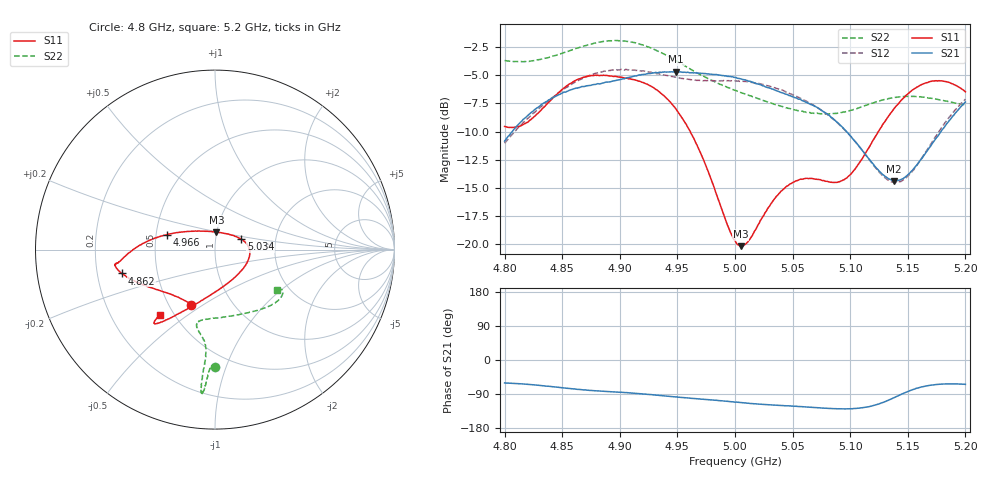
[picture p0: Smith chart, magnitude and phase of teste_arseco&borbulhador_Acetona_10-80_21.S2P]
! Network Analyzer HP8722D
! Hewlett-Packard
! Data name: Linha & Wilkinson
! Saver's name: Rodrigo Anjos
! Comments: Teste da utilização de aquisição
! continua pelo VNA HP8722D
! Time and date: 17/4/2025 14:32
!  Frequency  S11  S21  S12  S22
# HZ  S  MA R 50
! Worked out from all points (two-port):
!   401 points, 4.8 GHz to 5.2 GHz, reference 50 ohm
!   highest |S21| = -4.67 dB at 4.949 GHz (marker M1); lowest = -14.4 dB at 5.138 GHz (marker M2)
!   |S21| within 3 dB of the highest: 4.831 GHz to 5.068 GHz (236.7 MHz wide, 4.78 % of centre); 5.197161 GHz to end of sweep
!   lowest |S11| = -20.2 dB at 5.005 GHz (marker M3), VSWR 1.22, Z = 49.9 + j9.8 ohm
!   |S11| at or under -10 dB: 4.961 GHz to 5.124 GHz (163.3 MHz wide, 3.24 % of centre)
!   |S22| runs from -8.5 to -1.9 dB; largest |S21 - S12| = 0.88
!   S11 on the Smith chart (normalised r, x): 4.8 GHz: 0.65, -0.45; 4.862 GHz: 0.31, -0.11; 4.966 GHz: 0.57, +0.10; 5.034 GHz: 1.33, +0.16; 5.2 GHz: 0.42, -0.39
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4.8e9  0.3333 -113.2  0.2867 -60.6  0.2806 -174.9  0.6552 -90.0
4.819e9  0.3464 -133.2  0.3681 -64.0  0.3577 -173.5  0.6505 -91.6
4.862e9  0.5357 -165.6  0.4935 -76.9  0.5291 -176.8  0.7419 -93.8
4.867e9  0.5484 -167.5  0.5019 -78.6  0.5424 -177.7  0.7557 -93.9
4.9e9  0.5529 -172.0  0.538 -85.0  0.5956 175.6  0.8026 -95.2
4.934e9  0.4764 -178.1  0.5806 -93.4  0.5723 171.8  0.7174 -95.6
4.949e9  0.3969 174.7  0.5843 -97.4  0.5513 172.1  0.6531 -95.4
4.966e9  0.2815 162.9  0.5766 -101.9  0.5351 173.9  0.581 -95.0
5e9  0.1033 102.4  0.5509 -111.2  0.5322 176.1  0.4828 -99.1
5.005e9  0.09763 85.1  0.5431 -112.3  0.5297 176.2  0.4718 -100.5
5.013e9  0.1051 59.3  0.5297 -114.7  0.5245 175.8  0.4567 -102.1
5.034e9  0.1578 21.5  0.4853 -119.1  0.4967 174.9  0.4184 -103.8
5.05e9  0.1874 5.0  0.452 -121.8  0.4608 174.1  0.3989 -99.6
5.067e9  0.1955 -13.0  0.4154 -125.0  0.4173 173.7  0.3824 -91.0
5.087e9  0.1879 -45.0  0.3541 -128.5  0.3526 173.7  0.3809 -75.8
5.098e9  0.199 -67.8  0.3118 -128.8  0.3111 174.6  0.3901 -66.5
5.134e9  0.3747 -116.1  0.194 -105.1  0.1907 -158.0  0.4442 -42.9
5.138e9  0.3998 -118.5  0.1908 -99.6  0.188 -151.6  0.4479 -41.2
5.151e9  0.4697 -124.2  0.2052 -81.9  0.2025 -131.4  0.4537 -36.3
5.17e9  0.5288 -128.7  0.273 -66.5  0.2784 -112.6  0.4452 -31.9
5.184e9  0.5264 -130.0  0.3441 -63.1  0.3559 -107.2  0.4319 -30.9
5.2e9  0.4756 -130.4  0.4281 -64.3  0.4409 -106.3  0.4149 -33.2
